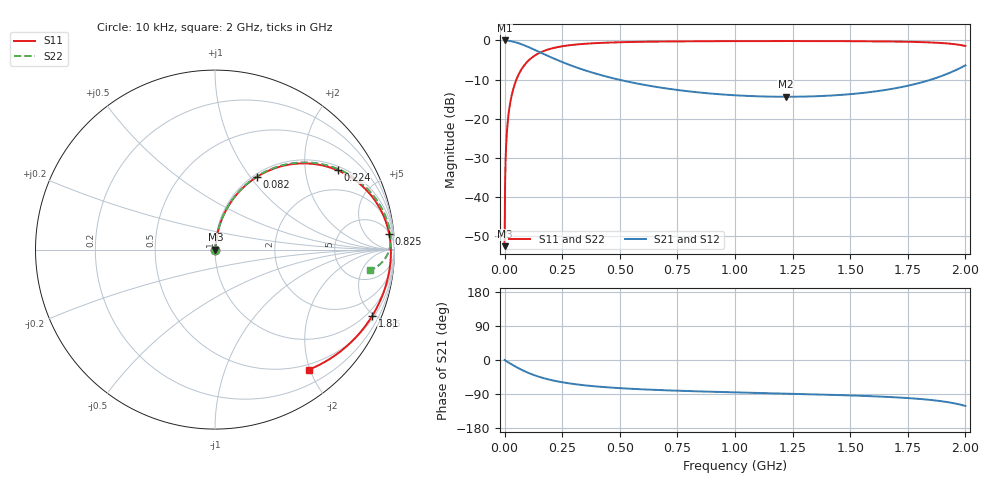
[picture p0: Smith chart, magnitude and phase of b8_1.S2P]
!Generated from: C:\Users\nkfzm\OneDrive - University of Missouri\Desktop\Research\PowerDC\b8_1\b8_1.spd
! Port1_ic_port_1::pwr
! Port2_decap_port_1::pwr
!Layout Workbench Version: 24.1.0.10141.541387  000
!Computer Host Name: RS29JQCX3
!TouchstoneFormatFlag = 1
! GNDNET gnd
! NETSLIST
#	Hz	Z	RI	R	1
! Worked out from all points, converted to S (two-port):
!   585 points, 10 kHz to 2 GHz, reference 1 ohm
!   highest |S21| = -0.02 dB at 10 kHz (marker M1); lowest = -14.4 dB at 1.22 GHz (marker M2)
!   |S21| within 3 dB of the highest: start of sweep to 152.7 MHz
!   lowest |S11| = -52.6 dB at 10 kHz (marker M3), VSWR 1.00, Z = 1 + j0.000145 ohm
!   |S11| at or under -10 dB: start of sweep to 51.3 MHz
!   |S22| runs from -52.6 to -0.2 dB; largest |S21 - S12| = 1.2e-10
!   S11 on the Smith chart (normalised r, x): 10 kHz: 1.00, +0.00; 82 MHz: 1.04, +1.07; 224 MHz: 1.14, +2.99; 825 MHz: 6, +20; 1.81 GHz: 0.63, -4.85; 2 GHz: 0.41, -1.98
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10000  -47.68 -9.7e+05  -47.68 -9.7e+05  -47.68 -9.7e+05  -47.68 -9.7e+05
1000000  0.000913 -9700  -0.000786 -9700  -0.000786 -9700  0.00264 -9700
2500000  0.000636 -3880  -0.00124 -3880  -0.00124 -3880  0.00254 -3880
4000000  0.00167 -2425  -0.00039 -2425  -0.00039 -2425  0.00376 -2425
6500000  0.00184 -1492  -0.000578 -1492  -0.000578 -1492  0.00429 -1492
1e7  0.00219 -970  -0.000773 -970  -0.000773 -970  0.00519 -969.9
1.5e7  0.00273 -646.6  -0.000965 -646.7  -0.000965 -646.7  0.00647 -646.5
2e7  0.00323 -484.9  -0.00113 -485  -0.00113 -485  0.00765 -484.8
4e7  0.00464 -242.4  -0.00161 -242.5  -0.00161 -242.5  0.011 -242.2
8.2e7  0.00666 -118  -0.00228 -118.4  -0.00228 -118.4  0.0157 -117.7
1.4e8  0.00874 -68.84  -0.00295 -69.45  -0.00295 -69.45  0.0206 -68.23
2.24e8  0.0111 -42.59  -0.0037 -43.57  -0.0037 -43.57  0.0262 -41.62
3.34e8  0.0137 -27.98  -0.00451 -29.44  -0.00451 -29.44  0.0322 -26.52
6.7e8  0.0202 -12.32  -0.00668 -15.29  -0.00668 -15.29  0.0475 -9.357
8.25e8  0.023 -9.078  -0.00775 -12.79  -0.00775 -12.79  0.0542 -5.377
1.005e9  0.0263 -6.34  -0.0092 -10.95  -0.0092 -10.95  0.0622 -1.738
1.22e9  0.0306 -3.836  -0.0114 -9.616  -0.0114 -9.616  0.073 1.934
1.335e9  0.0331 -2.694  -0.0129 -9.154  -0.0129 -9.154  0.0796 3.755
1.67e9  0.0426 0.2619  -0.0194 -8.504  -0.0194 -8.504  0.1051 9.011
1.81e9  0.0482 1.443  -0.0237 -8.494  -0.0237 -8.494  0.1205 11.36
1.92e9  0.0536 2.39  -0.0282 -8.595  -0.0282 -8.595  0.1358 13.35
2e9  0.0584 3.103  -0.0323 -8.734  -0.0323 -8.734  0.1495 14.92
